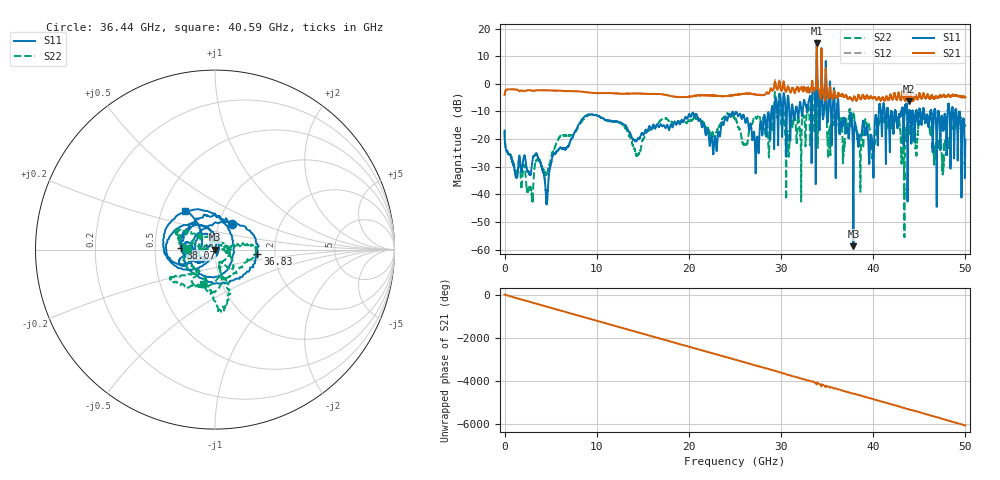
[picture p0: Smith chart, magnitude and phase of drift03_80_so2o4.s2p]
!Created with skrf (http://scikit-rf.org).
# Hz S RI R 50.0
!freq ReS11 ImS11 ReS21 ImS21 ReS12 ImS12 ReS22 ImS22
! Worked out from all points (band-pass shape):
!   10001 points, 300 kHz to 50 GHz, reference 50 ohm
!   highest |S21| = 14.69 dB at 33.88 GHz (marker M1); lowest = -6.3 dB at 43.89 GHz (marker M2)
!   |S21| within 3 dB of the highest: 33.86919 GHz to 33.8878 GHz (18.6 MHz wide, 0.0549 % of centre); 34.37759 GHz to 34.38788 GHz (10.28 MHz wide, 0.0299 % of centre)
!   lowest |S11| = -58.8 dB at 37.85 GHz (marker M3), VSWR 1.00, Z = 50.1 - j0.0857 ohm
!   |S11| at or under -10 dB: start of sweep to 28.94 GHz; 36.26 GHz to 40.6 GHz (4.336 GHz wide, 11.3 % of centre); 47.09 GHz to 48.08 GHz (990.6 MHz wide, 2.08 % of centre) (the widest 3 of 67)
!   |S22| runs from -55.5 to 11.5 dB; largest |S21 - S12| = 0.83
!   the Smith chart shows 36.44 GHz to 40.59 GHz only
!   S11 on the Smith chart (normalised r, x): 36.44 GHz: 1.16, +0.34; 36.83 GHz: 1.61, -0.09; 38.07 GHz: 0.68, +0.02; 40.59 GHz: 0.65, +0.31
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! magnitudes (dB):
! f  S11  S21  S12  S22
! 300 kHz  -16.9  -4.0  -4.0  -16.9
! 2.82 GHz  -32.7  -2.4  -2.4  -37.7
! 4.555 GHz  -43.7  -2.3  -2.3  -32.4
! 8.335 GHz  -13.1  -2.8  -2.8  -13.9
! 14.45 GHz  -19.9  -3.5  -3.5  -25.7
! 16.67 GHz  -15.4  -3.7  -3.7  -14.3
! 22.82 GHz  -19.2  -4.3  -4.3  -19.2
! 25 GHz  -11.0  -4.0  -4.0  -12.5
! 26.09 GHz  -13.6  -3.6  -3.6  -21.9
! 27.39 GHz  -19.4  -4.1  -4.1  -12.4
! 29.6 GHz  -10.4  -2.0  -2.1  -11.7
! 30.7 GHz  -5.7  -1.4  -1.5  -17.3
! 33.34 GHz  -13.9  -0.4  -0.4  -6.9
! 33.88 GHz  15.7  14.7  14.4  11.2
! 36.44 GHz  -15.2  -4.4  -4.3  -16.2
! 36.83 GHz  -12.5  -4.7  -4.7  -22.1
! 37.85 GHz  -58.8  -5.4  -5.4  -11.0
! 38.07 GHz  -14.4  -5.4  -5.3  -16.8
! 40.59 GHz  -11.2  -4.8  -4.9  -13.9
! 41.67 GHz  -12.2  -5.9  -5.9  -14.9
! 43.89 GHz  -9.9  -6.3  -6.3  -16.8
! 50 GHz  -20.2  -4.8  -4.8  -15.0
